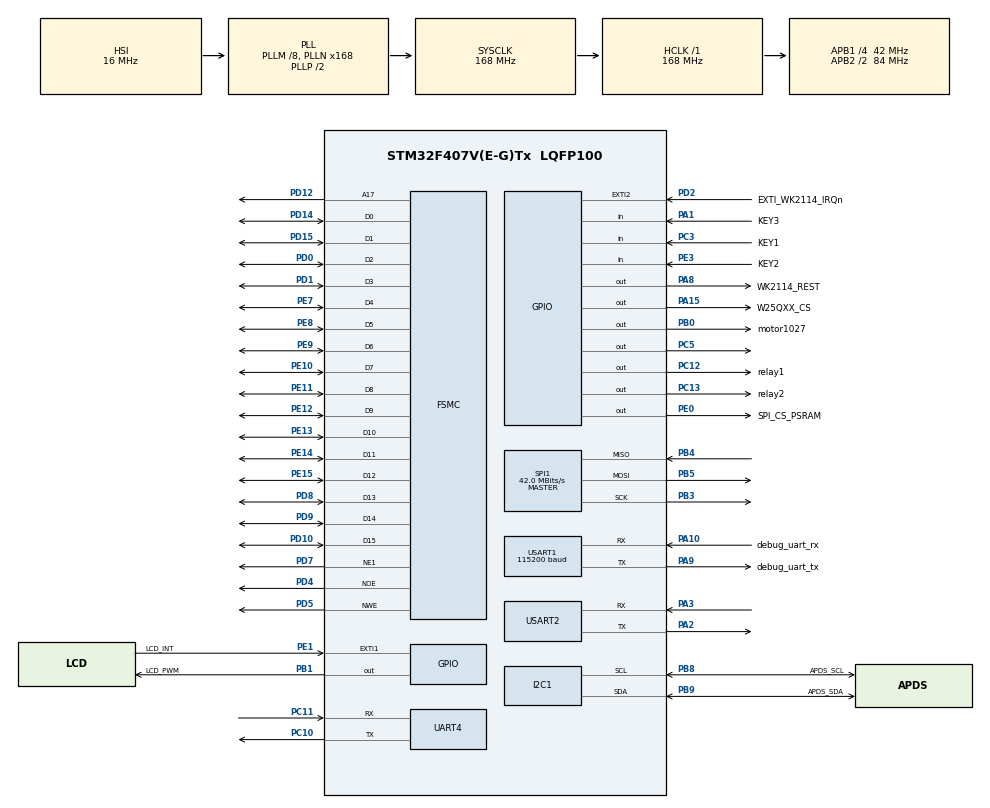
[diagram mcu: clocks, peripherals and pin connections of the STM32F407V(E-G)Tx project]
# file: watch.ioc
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Dma.I2C1_RX.0.Direction=DMA_PERIPH_TO_MEMORY
Dma.I2C1_RX.0.FIFOMode=DMA_FIFOMODE_DISABLE
Dma.I2C1_RX.0.Instance=DMA1_Stream0
Dma.I2C1_RX.0.MemDataAlignment=DMA_MDATAALIGN_BYTE
Dma.I2C1_RX.0.MemInc=DMA_MINC_ENABLE
Dma.I2C1_RX.0.Mode=DMA_NORMAL
Dma.I2C1_RX.0.PeriphDataAlignment=DMA_PDATAALIGN_BYTE
Dma.I2C1_RX.0.PeriphInc=DMA_PINC_DISABLE
Dma.I2C1_RX.0.Priority=DMA_PRIORITY_LOW
Dma.I2C1_TX.3.Direction=DMA_MEMORY_TO_PERIPH
Dma.I2C1_TX.3.FIFOMode=DMA_FIFOMODE_DISABLE
Dma.I2C1_TX.3.Instance=DMA1_Stream7
Dma.I2C1_TX.3.MemDataAlignment=DMA_MDATAALIGN_BYTE
Dma.I2C1_TX.3.MemInc=DMA_MINC_ENABLE
Dma.I2C1_TX.3.Mode=DMA_NORMAL
Dma.I2C1_TX.3.PeriphDataAlignment=DMA_PDATAALIGN_BYTE
Dma.I2C1_TX.3.PeriphInc=DMA_PINC_DISABLE
Dma.I2C1_TX.3.Priority=DMA_PRIORITY_LOW
Dma.Request0=I2C1_RX
Dma.Request1=USART1_RX
Dma.Request2=USART1_TX
Dma.Request3=I2C1_TX
Dma.Request4=USART2_RX
Dma.Request5=USART2_TX
Dma.Request6=SPI1_RX
Dma.Request7=SPI1_TX
Dma.Request8=UART4_RX
Dma.Request9=UART4_TX
Dma.SPI1_RX.6.Direction=DMA_PERIPH_TO_MEMORY
Dma.SPI1_RX.6.FIFOMode=DMA_FIFOMODE_DISABLE
Dma.SPI1_RX.6.Instance=DMA2_Stream0
Dma.SPI1_RX.6.MemDataAlignment=DMA_MDATAALIGN_BYTE
Dma.SPI1_RX.6.MemInc=DMA_MINC_ENABLE
Dma.SPI1_RX.6.Mode=DMA_NORMAL
Dma.SPI1_RX.6.PeriphDataAlignment=DMA_PDATAALIGN_BYTE
Dma.SPI1_RX.6.PeriphInc=DMA_PINC_DISABLE
Dma.SPI1_RX.6.Priority=DMA_PRIORITY_LOW
Dma.SPI1_TX.7.Direction=DMA_MEMORY_TO_PERIPH
Dma.SPI1_TX.7.FIFOMode=DMA_FIFOMODE_DISABLE
Dma.SPI1_TX.7.Instance=DMA2_Stream3
Dma.SPI1_TX.7.MemDataAlignment=DMA_MDATAALIGN_BYTE
Dma.SPI1_TX.7.MemInc=DMA_MINC_ENABLE
Dma.SPI1_TX.7.Mode=DMA_NORMAL
Dma.SPI1_TX.7.PeriphDataAlignment=DMA_PDATAALIGN_BYTE
Dma.SPI1_TX.7.PeriphInc=DMA_PINC_DISABLE
Dma.SPI1_TX.7.Priority=DMA_PRIORITY_LOW
Dma.UART4_RX.8.Direction=DMA_PERIPH_TO_MEMORY
Dma.UART4_RX.8.FIFOMode=DMA_FIFOMODE_DISABLE
Dma.UART4_RX.8.Instance=DMA1_Stream2
Dma.UART4_RX.8.MemDataAlignment=DMA_MDATAALIGN_BYTE
Dma.UART4_RX.8.MemInc=DMA_MINC_ENABLE
Dma.UART4_RX.8.Mode=DMA_CIRCULAR
Dma.UART4_RX.8.PeriphDataAlignment=DMA_PDATAALIGN_BYTE
Dma.UART4_RX.8.PeriphInc=DMA_PINC_DISABLE
Dma.UART4_RX.8.Priority=DMA_PRIORITY_LOW
Dma.UART4_TX.9.Direction=DMA_MEMORY_TO_PERIPH
Dma.UART4_TX.9.FIFOMode=DMA_FIFOMODE_DISABLE
Dma.UART4_TX.9.Instance=DMA1_Stream4
Dma.UART4_TX.9.MemDataAlignment=DMA_MDATAALIGN_BYTE
Dma.UART4_TX.9.MemInc=DMA_MINC_ENABLE
Dma.UART4_TX.9.Mode=DMA_NORMAL
Dma.UART4_TX.9.PeriphDataAlignment=DMA_PDATAALIGN_BYTE
Dma.UART4_TX.9.PeriphInc=DMA_PINC_DISABLE
Dma.UART4_TX.9.Priority=DMA_PRIORITY_LOW
Dma.USART1_RX.1.Direction=DMA_PERIPH_TO_MEMORY
Dma.USART1_RX.1.FIFOMode=DMA_FIFOMODE_DISABLE
Dma.USART1_RX.1.Instance=DMA2_Stream2
Dma.USART1_RX.1.MemDataAlignment=DMA_MDATAALIGN_BYTE
Dma.USART1_RX.1.MemInc=DMA_MINC_ENABLE
Dma.USART1_RX.1.Mode=DMA_CIRCULAR
Dma.USART1_RX.1.PeriphDataAlignment=DMA_PDATAALIGN_BYTE
Dma.USART1_RX.1.PeriphInc=DMA_PINC_DISABLE
Dma.USART1_RX.1.Priority=DMA_PRIORITY_LOW
Dma.USART1_TX.2.Direction=DMA_MEMORY_TO_PERIPH
Dma.USART1_TX.2.FIFOMode=DMA_FIFOMODE_DISABLE
Dma.USART1_TX.2.Instance=DMA2_Stream7
Dma.USART1_TX.2.MemDataAlignment=DMA_MDATAALIGN_BYTE
Dma.USART1_TX.2.MemInc=DMA_MINC_ENABLE
Dma.USART1_TX.2.Mode=DMA_NORMAL
Dma.USART1_TX.2.PeriphDataAlignment=DMA_PDATAALIGN_BYTE
Dma.USART1_TX.2.PeriphInc=DMA_PINC_DISABLE
Dma.USART1_TX.2.Priority=DMA_PRIORITY_LOW
Dma.USART2_RX.4.Direction=DMA_PERIPH_TO_MEMORY
Dma.USART2_RX.4.FIFOMode=DMA_FIFOMODE_DISABLE
Dma.USART2_RX.4.Instance=DMA1_Stream5
Dma.USART2_RX.4.MemDataAlignment=DMA_MDATAALIGN_BYTE
Dma.USART2_RX.4.MemInc=DMA_MINC_ENABLE
Dma.USART2_RX.4.Mode=DMA_CIRCULAR
Dma.USART2_RX.4.PeriphDataAlignment=DMA_PDATAALIGN_BYTE
Dma.USART2_RX.4.PeriphInc=DMA_PINC_DISABLE
Dma.USART2_RX.4.Priority=DMA_PRIORITY_LOW
Dma.USART2_TX.5.Direction=DMA_MEMORY_TO_PERIPH
Dma.USART2_TX.5.FIFOMode=DMA_FIFOMODE_DISABLE
Dma.USART2_TX.5.Instance=DMA1_Stream6
Dma.USART2_TX.5.MemDataAlignment=DMA_MDATAALIGN_BYTE
Dma.USART2_TX.5.MemInc=DMA_MINC_ENABLE
Dma.USART2_TX.5.Mode=DMA_NORMAL
Dma.USART2_TX.5.PeriphDataAlignment=DMA_PDATAALIGN_BYTE
Dma.USART2_TX.5.PeriphInc=DMA_PINC_DISABLE
Dma.USART2_TX.5.Priority=DMA_PRIORITY_LOW
FREERTOS.Tasks01=defaultTask,24,128,StartDefaultTask,Default,NULL,Dynamic,NULL,NULL;sensor_task,24,256,SensorTask,As weak,NULL,Dynamic,NULL,NULL;UartDebugTask,24,256,UART_Debug_RxProcessTask,As weak,NULL,Dynamic,NULL,NULL;Task_read_APDS9,24,256,Task_Read_APDS9900,As weak,NULL,Dynamic,NULL,NULL;Task_Read_LIS3D,24,256,Task_Read_LIS3DH,As weak,NULL,Dynamic,NULL,NULL;Task_read_PCF85,24,256,Task_Read_PCF8563,As weak,NULL,Dynamic,NULL,NULL;StartWk2114task,24,256,StartWk2114Task,As weak,NULL,Dynamic,NULL,NULL;Task_finger,24,256,Task_Finger,As weak,NULL,Dynamic,NULL,NULL;lvgl_Task,24,2048,Task_LVGL,As weak,NULL,Dynamic,NULL,NULL;I2C_Try_Recover,24,128,I2C_Try_Recovery_Task,As weak,NULL,Dynamic,NULL,NULL
FREERTOS.configTOTAL_HEAP_SIZE=30720
FSMC.AddressSetupTime1=2
FSMC.BusTurnAroundDuration1=0
FSMC.DataSetupTime1=10
FSMC.ExtendedAddressSetupTime1=2
FSMC.ExtendedDataSetupTime1=6
FSMC.ExtendedMode1=FSMC_EXTENDED_MODE_ENABLE
I2C1.I2C_Mode=I2C_Fast
Mcu.Family=STM32F4
Mcu.Name=STM32F407V(E-G)Tx
Mcu.Package=LQFP100
NVIC.DMA1_Stream0_IRQn=true\:5\:0\:false\:false\:true\:true\:false\:true\:true
NVIC.DMA1_Stream2_IRQn=true\:5\:0\:false\:false\:true\:true\:false\:true\:true
NVIC.DMA1_Stream4_IRQn=true\:5\:0\:false\:false\:true\:true\:false\:true\:true
NVIC.DMA1_Stream5_IRQn=true\:5\:0\:false\:false\:true\:true\:false\:true\:true
NVIC.DMA1_Stream6_IRQn=true\:5\:0\:false\:false\:true\:true\:false\:true\:true
NVIC.DMA1_Stream7_IRQn=true\:5\:0\:false\:false\:true\:false\:false\:true\:true
NVIC.DMA2_Stream0_IRQn=true\:5\:0\:false\:false\:true\:true\:false\:true\:true
NVIC.DMA2_Stream2_IRQn=true\:5\:0\:false\:false\:true\:true\:false\:true\:true
NVIC.DMA2_Stream3_IRQn=true\:5\:0\:false\:false\:true\:true\:false\:true\:true
NVIC.DMA2_Stream7_IRQn=true\:5\:0\:false\:false\:true\:true\:false\:true\:true
NVIC.EXTI1_IRQn=true\:5\:0\:false\:false\:true\:true\:true\:true\:true
NVIC.EXTI2_IRQn=true\:5\:0\:false\:false\:true\:true\:true\:true\:true
NVIC.I2C1_ER_IRQn=true\:5\:0\:false\:false\:true\:true\:true\:true\:true
NVIC.I2C1_EV_IRQn=true\:5\:0\:false\:false\:true\:true\:true\:true\:true
NVIC.PriorityGroup=NVIC_PRIORITYGROUP_4
NVIC.TIM6_DAC_IRQn=true\:5\:0\:true\:false\:true\:true\:true\:true\:true
NVIC.TIM8_TRG_COM_TIM14_IRQn=true\:15\:0\:false\:false\:true\:false\:false\:true\:true
NVIC.TimeBase=TIM8_TRG_COM_TIM14_IRQn
NVIC.TimeBaseIP=TIM14
NVIC.UART4_IRQn=true\:5\:0\:false\:false\:true\:true\:true\:true\:true
NVIC.USART1_IRQn=true\:5\:0\:false\:false\:true\:true\:true\:true\:true
NVIC.USART2_IRQn=true\:5\:0\:false\:false\:true\:true\:true\:true\:true
PA1.GPIO_Label=KEY3
PA1.GPIO_PuPd=GPIO_PULLUP
PA1.Signal=GPIO_Input
PA10.GPIO_Label=debug_uart_rx
PA10.Mode=Asynchronous
PA10.Signal=USART1_RX
PA13.Mode=Serial_Wire
PA13.Signal=SYS_JTMS-SWDIO
PA14.Mode=Serial_Wire
PA14.Signal=SYS_JTCK-SWCLK
PA15.GPIO_Label=W25QXX_CS
PA15.PinState=GPIO_PIN_SET
PA15.Signal=GPIO_Output
PA2.Mode=Asynchronous
PA2.Signal=USART2_TX
PA3.Mode=Asynchronous
PA3.Signal=USART2_RX
PA8.GPIO_Label=WK2114_REST
PA8.GPIO_PuPd=GPIO_PULLUP
PA8.PinState=GPIO_PIN_SET
PA8.Signal=GPIO_Output
PA9.GPIO_Label=debug_uart_tx
PA9.Mode=Asynchronous
PA9.Signal=USART1_TX
PB0.GPIO_Label=motor1027
PB0.GPIO_PuPd=GPIO_PULLUP
PB0.Signal=GPIO_Output
PB1.GPIO_Label=LCD_PWM
PB1.GPIO_PuPd=GPIO_PULLUP
PB1.Signal=GPIO_Output
PB10.Signal=I2C2_SCL
PB11.Signal=I2C2_SDA
PB3.Mode=Full_Duplex_Master
PB3.Signal=SPI1_SCK
PB4.Mode=Full_Duplex_Master
PB4.Signal=SPI1_MISO
PB5.Mode=Full_Duplex_Master
PB5.Signal=SPI1_MOSI
PB8.GPIO_Label=APDS_SCL
PB8.Mode=I2C
PB8.Signal=I2C1_SCL
PB9.GPIO_Label=APDS_SDA
PB9.Mode=I2C
PB9.Signal=I2C1_SDA
PC10.Mode=Asynchronous
PC10.Signal=UART4_TX
PC11.Mode=Asynchronous
PC11.Signal=UART4_RX
PC12.GPIO_Label=relay1
PC12.GPIO_PuPd=GPIO_PULLDOWN
PC12.Signal=GPIO_Output
PC13-ANTI_TAMP.GPIO_Label=relay2
PC13-ANTI_TAMP.GPIO_PuPd=GPIO_PULLDOWN
PC13-ANTI_TAMP.GPIO_Speed=GPIO_SPEED_FREQ_LOW
PC13-ANTI_TAMP.Signal=GPIO_Output
PC14-OSC32_IN.Mode=LSE-External-Oscillator
PC14-OSC32_IN.Signal=RCC_OSC32_IN
PC15-OSC32_OUT.Mode=LSE-External-Oscillator
PC15-OSC32_OUT.Signal=RCC_OSC32_OUT
PC3.GPIO_Label=KEY1
PC3.GPIO_PuPd=GPIO_PULLUP
PC3.Signal=GPIO_Input
PC5.Signal=GPIO_Output
PD0.GPIO_Mode=GPIO_MODE_AF_PP
PD0.GPIO_PuPd=GPIO_NOPULL
PD0.GPIO_Speed_High_Default=GPIO_SPEED_FREQ_VERY_HIGH
PD0.Mode=16b-d1
PD0.Signal=FSMC_D2
PD1.GPIO_Mode=GPIO_MODE_AF_PP
PD1.GPIO_PuPd=GPIO_NOPULL
PD1.GPIO_Speed_High_Default=GPIO_SPEED_FREQ_VERY_HIGH
PD1.Mode=16b-d1
PD1.Signal=FSMC_D3
PD10.Mode=16b-d1
PD10.Signal=FSMC_D15
PD12.GPIO_Mode=GPIO_MODE_AF_PP
PD12.GPIO_PuPd=GPIO_NOPULL
PD12.GPIO_Speed_High_Default=GPIO_SPEED_FREQ_VERY_HIGH
PD12.Mode=A17_1
PD12.Signal=FSMC_A17
PD14.Mode=16b-d1
PD14.Signal=FSMC_D0
PD15.Mode=16b-d1
PD15.Signal=FSMC_D1
PD2.GPIO_Label=EXTI_WK2114_IRQn
PD2.GPIO_ModeDefaultEXTI=GPIO_MODE_IT_FALLING
PD2.GPIO_PuPd=GPIO_PULLUP
PD2.Signal=GPXTI2
PD4.GPIO_Mode=GPIO_MODE_AF_PP
PD4.GPIO_PuPd=GPIO_NOPULL
PD4.GPIO_Speed_High_Default=GPIO_SPEED_FREQ_VERY_HIGH
PD4.Mode=Lcd1
PD4.Signal=FSMC_NOE
PD5.GPIO_Mode=GPIO_MODE_AF_PP
PD5.GPIO_PuPd=GPIO_NOPULL
PD5.GPIO_Speed_High_Default=GPIO_SPEED_FREQ_VERY_HIGH
PD5.Mode=Lcd1
PD5.Signal=FSMC_NWE
PD7.Mode=NorPsramChipSelect1_1
PD7.Signal=FSMC_NE1
PD8.Mode=16b-d1
PD8.Signal=FSMC_D13
PD9.Mode=16b-d1
PD9.Signal=FSMC_D14
PE0.GPIO_Label=SPI_CS_PSRAM
PE0.GPIO_PuPd=GPIO_PULLUP
PE0.PinState=GPIO_PIN_SET
PE0.Signal=GPIO_Output
PE1.GPIO_Label=LCD_INT
PE1.Signal=GPXTI1
PE10.Mode=16b-d1
PE10.Signal=FSMC_D7
PE11.Mode=16b-d1
PE11.Signal=FSMC_D8
PE12.Mode=16b-d1
PE12.Signal=FSMC_D9
PE13.Mode=16b-d1
PE13.Signal=FSMC_D10
PE14.Mode=16b-d1
PE14.Signal=FSMC_D11
PE15.Mode=16b-d1
PE15.Signal=FSMC_D12
PE3.GPIO_Label=KEY2
PE3.GPIO_PuPd=GPIO_PULLUP
PE3.Signal=GPIO_Input
PE7.Mode=16b-d1
PE7.Signal=FSMC_D4
PE8.Mode=16b-d1
PE8.Signal=FSMC_D5
PE9.Mode=16b-d1
PE9.Signal=FSMC_D6
PH0-OSC_IN.Mode=HSE-External-Oscillator
PH0-OSC_IN.Signal=RCC_OSC_IN
PH1-OSC_OUT.Mode=HSE-External-Oscillator
PH1-OSC_OUT.Signal=RCC_OSC_OUT
ProjectManager.HeapSize=0x500
ProjectManager.StackSize=0x500
ProjectManager.TargetToolchain=CMake
RCC.48MHZClocksFreq_Value=84000000
RCC.AHBFreq_Value=168000000
RCC.APB1CLKDivider=RCC_HCLK_DIV4
RCC.APB1Freq_Value=42000000
RCC.APB1TimFreq_Value=84000000
RCC.APB2CLKDivider=RCC_HCLK_DIV2
RCC.APB2Freq_Value=84000000
RCC.APB2TimFreq_Value=168000000
RCC.CortexFreq_Value=168000000
RCC.HCLKFreq_Value=168000000
RCC.HSE_VALUE=25000000
RCC.HSI_VALUE=16000000
RCC.PLLM=8
RCC.PLLN=168
RCC.SYSCLKFreq_VALUE=168000000
RCC.SYSCLKSource=RCC_SYSCLKSOURCE_PLLCLK
RCC.VCOOutputFreq_Value=336000000
SPI1.BaudRatePrescaler=SPI_BAUDRATEPRESCALER_2
SPI1.CalculateBaudRate=42.0 MBits/s
SPI1.Direction=SPI_DIRECTION_2LINES
SPI1.Mode=SPI_MODE_MASTER
SPI1.VirtualType=VM_MASTER
STMicroelectronics.FP-SNS-STAIOTCFT.1.0.0.MathOoLibCcCMSISJjDSPJjInclude=true
STMicroelectronics.FP-SNS-STAIOTCFT.1.0.0.MathOoLibCcCMSISJjDSPJjLib=true
STMicroelectronics.X-CUBE-ALGOBUILD.1.4.0.LibraryCcDSPOoLibraryJjDSPOoLibrary=true
TIM6.Period=1000-1
UART4.VirtualMode=Asynchronous
USART1.BaudRate=115200
USART1.VirtualMode=VM_ASYNC
USART2.VirtualMode=VM_ASYNC
VP_FREERTOS_VS_CMSIS_V2.Mode=CMSIS_V2
VP_STMicroelectronics.FP-SNS-STAIOTCFT_VS_CMSISJjMathOoLib_1.0.0_1.0.0.Mode=CMSISJjMathOoLib
VP_STMicroelectronics.X-CUBE-ALGOBUILD_VS_DSPOoLibraryJjLibrary_1.4.0_1.4.0.Mode=DSPOoLibraryJjLibrary
VP_SYS_VS_tim14.Mode=TIM14
VP_TIM6_VS_ClockSourceINT.Mode=Enable_Timer
board=custom

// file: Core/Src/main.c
/* USER CODE BEGIN Header */
/**
 ******************************************************************************
 * @file           : main.c
 * @brief          : Main program body
 ******************************************************************************
 * @attention
 *
 * Copyright (c) 2025 STMicroelectronics.
 * All rights reserved.
 *
 * This software is licensed under terms that can be found in the LICENSE file
 * in the root directory of this software component.
 * If no LICENSE file comes with this software, it is provided AS-IS.
 *
 ******************************************************************************
 */
/* USER CODE END Header */
#include "main.h"
#include "cmsis_os.h"
#include "dma.h"
#include "i2c.h"
#include "spi.h"
#include "tim.h"
#include "usart.h"
#include "gpio.h"
#include "fsmc.h"

/* USER CODE BEGIN Includes */
#include "APDS9900.h"
#include "LIS3DH.h"
#include "uart_app.h"
#include "PCF8563.h"
#include "WK2114.h"
#include "wk2xxx.h"
#include "finger.h"
#include "ST7789.h"
#include "ft6x36.h"
#include "i2c_recovery.h"
#include "SRAM_Driver.h"
#include "bsp_dwt.h"
#include "lvgl.h"                // 它为整个LVGL提供了更完整的头文件引用
#include "lv_port_disp.h"        // LVGL的显示支持
#include "lv_port_indev.h"       // LVGL的触屏支持
#include "at_core.h"
#include "w25qxx_hal.h"
#include "ec20_zhiyun.h"

/* USER CODE END Includes */

/* USER CODE BEGIN PV */
osMutexId_t i2cBusMutexHandle = NULL;
osSemaphoreId_t i2cDmaCpltSemHandle = NULL;

/* USER CODE END PV */

void SystemClock_Config(void);
void MX_FREERTOS_Init(void);

int main(void)
{

  /* MCU Configuration--------------------------------------------------------*/

  /* Reset of all peripherals, Initializes the Flash interface and the Systick. */
  HAL_Init();

  /* Configure the system clock */
  SystemClock_Config();

  /* Initialize all configured peripherals */
  MX_GPIO_Init();
  MX_DMA_Init();
  MX_I2C1_Init();
  MX_USART1_UART_Init();
  MX_USART2_UART_Init();
  MX_FSMC_Init();
  MX_TIM6_Init();
  MX_SPI1_Init();
  MX_UART4_Init();
  /* USER CODE BEGIN 2 */

  DWT_Init(168); // 初始化 DWT 延时函数，参数为 CPU 频率，单位 MHz
  // === 在此处动态创建 RTOS 对象 ===

  // 1. 创建互斥锁 (Mutex)
  //    我们不需要特殊属性，所以传递 NULL
  i2cBusMutexHandle = osMutexNew(NULL);

  if (i2cBusMutexHandle == NULL) {
    // 致命错误：Mutex 创建失败
    // 通常是因为 FreeRTOS 堆空间不足 (configTOTAL_HEAP_SIZE)
    Error_Handler();
  }

  // 2. 创建二值信号量 (Binary Semaphore)
  //    API: osSemaphoreNew(max_count, initial_count, attributes)
  //    我们需要的: Max Count = 1, Initial Count = 0
  i2cDmaCpltSemHandle = osSemaphoreNew(1, 0, NULL);

  if (i2cDmaCpltSemHandle == NULL) {
    // 致命错误：Semaphore 创建失败
    // 通常是因为 FreeRTOS 堆空间不足
    Error_Handler();
  }

  // === 对象创建完毕 ===
HAL_I2C_DeInit(&hi2c1);
DWT_Delay(1e-3f); // 1ms
I2C_Bus_Clock_Pulse_And_Stop();
HAL_I2C_Init(&hi2c1);

  UartTxStruct_Init(&Uart1_Tx, &huart1); // 初始化 UART1 发送结构体
  UartRxStruct_Init(&Uart1_Rx,512,&huart1,10);// 初始化 UART1 DMA 接收
  APDS9900_Init(&hi2c1);
  LIS3DH_Init(&hi2c1, 100);

  PCF8563_Init(&hi2c1);
  //SRAM_Init_Sequence();
  ft6x36_init();
  if (St7789_init() == 0)
  {
    // 初始化成功，背光已打开，屏幕已清屏为黑色
    // 2. 简单的绘图测试

    // // 填充矩形 (红色)
    // St7789_FillColor(10, 10, 100, 100, 0xF800);

    // // 绘制单个点 (蓝色)
    // St7789_DrawPoint(150, 150, 0x001F);

    // // 填充整个屏幕 (绿色)
    // osDelay(500);
    //St7789_FillColor(0, 0, screen_dev.wide - 1, screen_dev.high - 1, 0xFFFF);

    // 绘制一个点
    //St7789_DrawPoint(100, 100, 0xFFFF); // 白色

    // 3. 字体绘制 (需要您根据字库文件添加额外的绘图函数，例如 DrawChar, DrawString 等)
    // 驱动核心文件只提供了底层操作，高级绘图函数需要您基于St7789_DrawPoint自行实现。
  }

// W25QXX_Init();
// AT_Core_Init();
//Initialize_EC20_System();
  //WK2114_Init_All(115200);
  /* USER CODE END 2 */

  /* Init scheduler */
  osKernelInitialize();

  /* Call init function for freertos objects (in cmsis_os2.c) */
  MX_FREERTOS_Init();

  /* Start scheduler */
  osKernelStart();

  /* We should never get here as control is now taken by the scheduler */

  /* Infinite loop */
  while (1) {

  }
}

void SystemClock_Config(void)
{
  RCC_OscInitTypeDef RCC_OscInitStruct = {0};
  RCC_ClkInitTypeDef RCC_ClkInitStruct = {0};

  /** Configure the main internal regulator output voltage
  */
  __HAL_RCC_PWR_CLK_ENABLE();
  __HAL_PWR_VOLTAGESCALING_CONFIG(PWR_REGULATOR_VOLTAGE_SCALE1);

  /** Initializes the RCC Oscillators according to the specified parameters
  * in the RCC_OscInitTypeDef structure.
  */
  RCC_OscInitStruct.OscillatorType = RCC_OSCILLATORTYPE_HSI;
  RCC_OscInitStruct.HSIState = RCC_HSI_ON;
  RCC_OscInitStruct.HSICalibrationValue = RCC_HSICALIBRATION_DEFAULT;
  RCC_OscInitStruct.PLL.PLLState = RCC_PLL_ON;
  RCC_OscInitStruct.PLL.PLLSource = RCC_PLLSOURCE_HSI;
  RCC_OscInitStruct.PLL.PLLM = 8;
  RCC_OscInitStruct.PLL.PLLN = 168;
  RCC_OscInitStruct.PLL.PLLP = RCC_PLLP_DIV2;
  RCC_OscInitStruct.PLL.PLLQ = 4;
  if (HAL_RCC_OscConfig(&RCC_OscInitStruct) != HAL_OK)
  {
    Error_Handler();
  }

  /** Initializes the CPU, AHB and APB buses clocks
  */
  RCC_ClkInitStruct.ClockType = RCC_CLOCKTYPE_HCLK|RCC_CLOCKTYPE_SYSCLK
                              |RCC_CLOCKTYPE_PCLK1|RCC_CLOCKTYPE_PCLK2;
  RCC_ClkInitStruct.SYSCLKSource = RCC_SYSCLKSOURCE_PLLCLK;
  RCC_ClkInitStruct.AHBCLKDivider = RCC_SYSCLK_DIV1;
  RCC_ClkInitStruct.APB1CLKDivider = RCC_HCLK_DIV4;
  RCC_ClkInitStruct.APB2CLKDivider = RCC_HCLK_DIV2;

  if (HAL_RCC_ClockConfig(&RCC_ClkInitStruct, FLASH_LATENCY_5) != HAL_OK)
  {
    Error_Handler();
  }
}

void HAL_TIM_PeriodElapsedCallback(TIM_HandleTypeDef *htim)
{
  /* USER CODE BEGIN Callback 0 */
    if (htim->Instance == TIM14)
  {
    lv_tick_inc(1);
  }
  /* USER CODE END Callback 0 */
  if (htim->Instance == TIM14)
  {
    HAL_IncTick();
  }
}

void Error_Handler(void)
{
  __disable_irq();
  while (1) {
  }
}

#ifdef  USE_FULL_ASSERT
/**
  * @brief  Reports the name of the source file and the source line number
  *         where the assert_param error has occurred.
  * @param  file: pointer to the source file name
  * @param  line: assert_param error line source number
  * @retval None
  */
void assert_failed(uint8_t *file, uint32_t line)
{
  /* USER CODE BEGIN 6 */
  /* User can add his own implementation to report the file name and line
     number, ex: printf("Wrong parameters value: file %s on line %d\r\n", file,
     line) */
  /* USER CODE END 6 */
}
#endif /* USE_FULL_ASSERT */

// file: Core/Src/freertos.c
/* USER CODE BEGIN Header */
/**
  ******************************************************************************
  * File Name          : freertos.c
  * Description        : Code for freertos applications
  ******************************************************************************
  * @attention
  *
  * Copyright (c) 2025 STMicroelectronics.
  * All rights reserved.
  *
  * This software is licensed under terms that can be found in the LICENSE file
  * in the root directory of this software component.
  * If no LICENSE file comes with this software, it is provided AS-IS.
  *
  ******************************************************************************
  */
/* USER CODE END Header */

#include "FreeRTOS.h"
#include "task.h"
#include "main.h"
#include "cmsis_os.h"

/* Definitions for defaultTask */
osThreadId_t defaultTaskHandle;
const osThreadAttr_t defaultTask_attributes = {
  .name = "defaultTask",
  .stack_size = 128 * 4,
  .priority = (osPriority_t) osPriorityNormal,
};
/* Definitions for sensor_task */
osThreadId_t sensor_taskHandle;
const osThreadAttr_t sensor_task_attributes = {
  .name = "sensor_task",
  .stack_size = 256 * 4,
  .priority = (osPriority_t) osPriorityNormal,
};
/* Definitions for UartDebugTask */
osThreadId_t UartDebugTaskHandle;
const osThreadAttr_t UartDebugTask_attributes = {
  .name = "UartDebugTask",
  .stack_size = 256 * 4,
  .priority = (osPriority_t) osPriorityNormal,
};
/* Definitions for Task_read_APDS9 */
osThreadId_t Task_read_APDS9Handle;
const osThreadAttr_t Task_read_APDS9_attributes = {
  .name = "Task_read_APDS9",
  .stack_size = 256 * 4,
  .priority = (osPriority_t) osPriorityNormal,
};
/* Definitions for Task_Read_LIS3D */
osThreadId_t Task_Read_LIS3DHandle;
const osThreadAttr_t Task_Read_LIS3D_attributes = {
  .name = "Task_Read_LIS3D",
  .stack_size = 256 * 4,
  .priority = (osPriority_t) osPriorityNormal,
};
/* Definitions for Task_read_PCF85 */
osThreadId_t Task_read_PCF85Handle;
const osThreadAttr_t Task_read_PCF85_attributes = {
  .name = "Task_read_PCF85",
  .stack_size = 256 * 4,
  .priority = (osPriority_t) osPriorityNormal,
};
/* Definitions for StartWk2114task */
osThreadId_t StartWk2114taskHandle;
const osThreadAttr_t StartWk2114task_attributes = {
  .name = "StartWk2114task",
  .stack_size = 256 * 4,
  .priority = (osPriority_t) osPriorityNormal,
};
/* Definitions for Task_finger */
osThreadId_t Task_fingerHandle;
const osThreadAttr_t Task_finger_attributes = {
  .name = "Task_finger",
  .stack_size = 256 * 4,
  .priority = (osPriority_t) osPriorityNormal,
};
/* Definitions for lvgl_Task */
osThreadId_t lvgl_TaskHandle;
const osThreadAttr_t lvgl_Task_attributes = {
  .name = "lvgl_Task",
  .stack_size = 2048 * 4,
  .priority = (osPriority_t) osPriorityNormal,
};
/* Definitions for I2C_Try_Recover */
osThreadId_t I2C_Try_RecoverHandle;
const osThreadAttr_t I2C_Try_Recover_attributes = {
  .name = "I2C_Try_Recover",
  .stack_size = 128 * 4,
  .priority = (osPriority_t) osPriorityNormal,
};

void StartDefaultTask(void *argument);
void SensorTask(void *argument);
void UART_Debug_RxProcessTask(void *argument);
void Task_Read_APDS9900(void *argument);
void Task_Read_LIS3DH(void *argument);
void Task_Read_PCF8563(void *argument);
void StartWk2114Task(void *argument);
void Task_Finger(void *argument);
void Task_LVGL(void *argument);
void I2C_Try_Recovery_Task(void *argument);

void MX_FREERTOS_Init(void); /* (MISRA C 2004 rule 8.1) */

void MX_FREERTOS_Init(void) {

  /* Create the thread(s) */
  /* creation of defaultTask */
  defaultTaskHandle = osThreadNew(StartDefaultTask, NULL, &defaultTask_attributes);

  /* creation of sensor_task */
  sensor_taskHandle = osThreadNew(SensorTask, NULL, &sensor_task_attributes);

  /* creation of UartDebugTask */
  UartDebugTaskHandle = osThreadNew(UART_Debug_RxProcessTask, NULL, &UartDebugTask_attributes);

  /* creation of Task_read_APDS9 */
  Task_read_APDS9Handle = osThreadNew(Task_Read_APDS9900, NULL, &Task_read_APDS9_attributes);

  /* creation of Task_Read_LIS3D */
  Task_Read_LIS3DHandle = osThreadNew(Task_Read_LIS3DH, NULL, &Task_Read_LIS3D_attributes);

  /* creation of Task_read_PCF85 */
  Task_read_PCF85Handle = osThreadNew(Task_Read_PCF8563, NULL, &Task_read_PCF85_attributes);

  /* creation of StartWk2114task */
  StartWk2114taskHandle = osThreadNew(StartWk2114Task, NULL, &StartWk2114task_attributes);

  /* creation of Task_finger */
  Task_fingerHandle = osThreadNew(Task_Finger, NULL, &Task_finger_attributes);

  /* creation of lvgl_Task */
  lvgl_TaskHandle = osThreadNew(Task_LVGL, NULL, &lvgl_Task_attributes);

  /* creation of I2C_Try_Recover */
  I2C_Try_RecoverHandle = osThreadNew(I2C_Try_Recovery_Task, NULL, &I2C_Try_Recover_attributes);

}

void StartDefaultTask(void *argument)
{
  for(;;)
  {
    osDelay(1);
  }
}

__weak void SensorTask(void *argument)
{
  for(;;)
  {
    osDelay(1);
  }
}

__weak void UART_Debug_RxProcessTask(void *argument)
{
  for(;;)
  {
    osDelay(1);
  }
}

__weak void Task_Read_APDS9900(void *argument)
{
  for(;;)
  {
    osDelay(1);
  }
}

__weak void Task_Read_LIS3DH(void *argument)
{
  for(;;)
  {
    osDelay(1);
  }
}

__weak void Task_Read_PCF8563(void *argument)
{
  for(;;)
  {
    osDelay(1);
  }
}

__weak void StartWk2114Task(void *argument)
{
  for(;;)
  {
    osDelay(1);
  }
}

__weak void Task_Finger(void *argument)
{
  for(;;)
  {
    osDelay(1);
  }
}

__weak void Task_LVGL(void *argument)
{
  for(;;)
  {
    osDelay(1);
  }
}

__weak void I2C_Try_Recovery_Task(void *argument)
{
  for(;;)
  {
    osDelay(1);
  }
}
